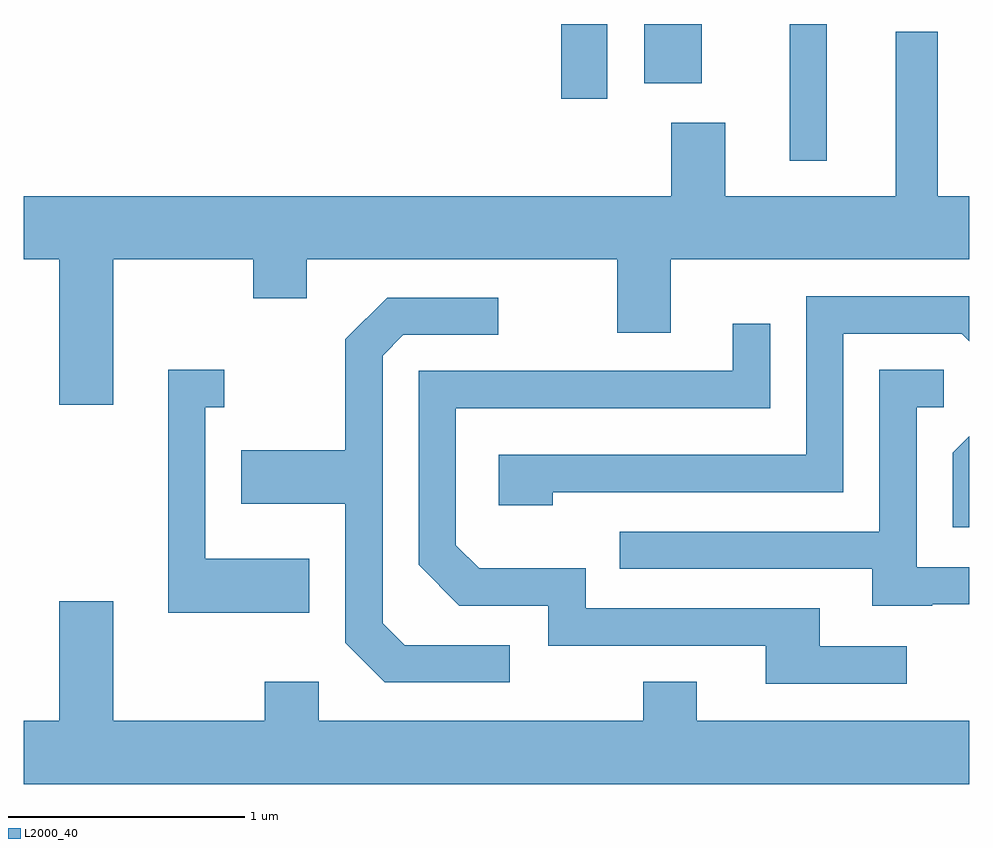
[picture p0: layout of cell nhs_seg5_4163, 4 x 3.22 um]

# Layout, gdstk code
import gdstk
lib = gdstk.Library(unit=1e-6, precision=1e-09)
def R(c, l, rs):  # rectangles x0, y0, x1, y1
    for r in rs: c.add(gdstk.rectangle(r[:2], r[2:], *l))
def P(c, l, *ps):  # polygons
    for p in ps: c.add(gdstk.Polygon(p, *l))
L2000_40 = (2000, 40)

nhs_seg5_4163 = lib.new_cell('nhs_seg5_4163')
R(nhs_seg5_4163, L2000_40, [(312.851,1399.493,313.009,1400.072), (311.886,1399.756,312.079,1400.072), (312.236,1399.821,312.479,1400.072)])
P(nhs_seg5_4163, L2000_40, [(309.989,1399.076),(310.581,1399.076),(310.581,1398.911),(310.809,1398.911),(310.809,1399.076),(312.121,1399.076),(312.121,1398.766),(312.349,1398.766),(312.349,1399.076),(313.611,1399.076),(313.611,1399.344),(313.479,1399.344),(313.479,1400.039),(313.301,1400.039),(313.301,1399.344),(312.579,1399.344),(312.579,1399.654),(312.351,1399.654),(312.351,1399.344),(309.611,1399.344),(309.611,1399.076),(309.761,1399.076),(309.761,1398.461),(309.989,1398.461)],
  [(311.849,1398.091),(313.079,1398.091),(313.079,1398.761),(313.579,1398.761),(313.611,1398.729),(313.611,1398.919),(312.921,1398.919),(312.921,1398.249),(311.621,1398.249),(311.621,1398.036),(311.849,1398.036)],
  [(311.668,1397.444),(311.222,1397.444),(311.129,1397.537),(311.129,1398.669),(311.217,1398.756),(311.618,1398.756),(311.618,1398.914),(311.149,1398.914),(310.971,1398.737),(310.971,1398.269),(310.531,1398.269),(310.531,1398.041),(310.971,1398.041),(310.971,1397.454),(311.139,1397.286),(311.668,1397.286)],
  [(313.348,1397.439),(312.979,1397.439),(312.979,1397.599),(311.989,1397.599),(311.989,1397.769),(311.537,1397.769),(311.439,1397.867),(311.439,1398.446),(312.769,1398.446),(312.769,1398.803),(312.611,1398.803),(312.611,1398.604),(311.281,1398.604),(311.281,1397.784),(311.454,1397.611),(311.831,1397.611),(311.831,1397.441),(312.751,1397.441),(312.751,1397.281),(313.348,1397.281)],
  [(310.819,1397.809),(310.379,1397.809),(310.379,1398.451),(310.458,1398.451),(310.458,1398.609),(310.221,1398.609),(310.221,1397.581),(310.819,1397.581)],
  [(313.455,1397.616),(313.611,1397.616),(313.611,1397.774),(313.389,1397.774),(313.389,1398.451),(313.503,1398.451),(313.503,1398.609),(313.231,1398.609),(313.231,1397.924),(312.133,1397.924),(312.133,1397.766),(313.201,1397.766),(313.201,1397.611),(313.455,1397.611)],
  [(313.611,1398.327),(313.541,1398.257),(313.541,1397.943),(313.611,1397.943)],
  [(313.611,1397.124),(312.459,1397.124),(312.459,1397.289),(312.231,1397.289),(312.231,1397.124),(310.859,1397.124),(310.859,1397.289),(310.631,1397.289),(310.631,1397.124),(309.989,1397.124),(309.989,1397.629),(309.761,1397.629),(309.761,1397.124),(309.611,1397.124),(309.611,1396.856),(313.611,1396.856)])

lib.write_gds('nhs_seg5_4163.gds')
